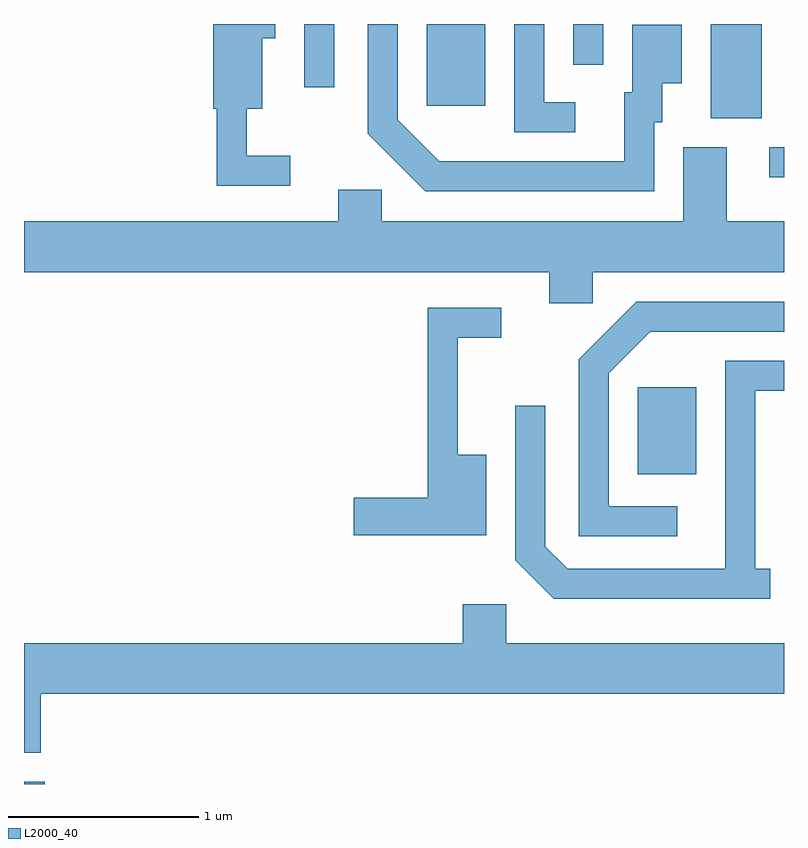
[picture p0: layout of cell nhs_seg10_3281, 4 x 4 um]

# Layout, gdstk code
import gdstk
lib = gdstk.Library(unit=1e-6, precision=1e-09)
def R(c, l, rs):  # rectangles x0, y0, x1, y1
    for r in rs: c.add(gdstk.rectangle(r[:2], r[2:], *l))
def P(c, l, *ps):  # polygons
    for p in ps: c.add(gdstk.Polygon(p, *l))
L2000_40 = (2000, 40)

nhs_seg10_3281 = lib.new_cell('nhs_seg10_3281')
R(nhs_seg10_3281, L2000_40, [(281.611,2144.522,281.72,2144.534), (284.841,2146.151,285.149,2146.609), (285.533,2147.716,285.611,2147.874), (285.226,2148.026,285.494,2148.522), (283.731,2148.091,284.039,2148.522), (283.086,2148.188,283.244,2148.522), (284.501,2148.308,284.659,2148.522)])
P(nhs_seg10_3281, L2000_40, [(283.013,2147.829),(282.784,2147.829),(282.784,2148.076),(282.864,2148.076),(282.864,2148.446),(282.934,2148.446),(282.934,2148.522),(282.606,2148.522),(282.606,2148.076),(282.626,2148.076),(282.626,2147.671),(283.013,2147.671)],
  [(284.929,2148.006),(284.969,2148.006),(284.969,2148.211),(285.074,2148.211),(285.074,2148.519),(284.811,2148.519),(284.811,2148.164),(284.771,2148.164),(284.771,2147.799),(283.797,2147.799),(283.579,2148.017),(283.579,2148.522),(283.421,2148.522),(283.421,2147.944),(283.724,2147.641),(284.929,2147.641)],
  [(284.513,2148.109),(284.349,2148.109),(284.349,2148.522),(284.191,2148.522),(284.191,2147.951),(284.513,2147.951)],
  [(283.494,2147.649),(283.266,2147.649),(283.266,2147.484),(281.611,2147.484),(281.611,2147.216),(284.376,2147.216),(284.376,2147.051),(284.604,2147.051),(284.604,2147.216),(285.611,2147.216),(285.611,2147.484),(285.309,2147.484),(285.309,2147.874),(285.081,2147.874),(285.081,2147.484),(283.494,2147.484)],
  [(285.048,2145.984),(284.689,2145.984),(284.689,2146.684),(284.907,2146.901),(285.611,2146.901),(285.611,2147.059),(284.834,2147.059),(284.531,2146.757),(284.531,2145.826),(285.048,2145.826)],
  [(284.044,2146.254),(283.894,2146.254),(283.894,2146.871),(284.123,2146.871),(284.123,2147.029),(283.736,2147.029),(283.736,2146.029),(283.346,2146.029),(283.346,2145.831),(284.044,2145.831)],
  [(285.538,2145.654),(285.459,2145.654),(285.459,2146.591),(285.611,2146.591),(285.611,2146.749),(285.301,2146.749),(285.301,2145.654),(284.472,2145.654),(284.354,2145.772),(284.354,2146.513),(284.196,2146.513),(284.196,2145.699),(284.399,2145.496),(285.538,2145.496)],
  [(281.699,2144.996),(285.611,2144.996),(285.611,2145.264),(284.149,2145.264),(284.149,2145.469),(283.921,2145.469),(283.921,2145.264),(281.611,2145.264),(281.611,2144.686),(281.699,2144.686)])

lib.write_gds('nhs_seg10_3281.gds')
